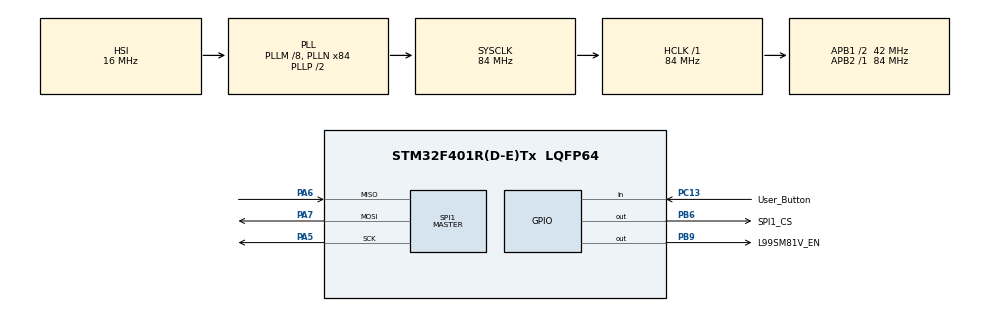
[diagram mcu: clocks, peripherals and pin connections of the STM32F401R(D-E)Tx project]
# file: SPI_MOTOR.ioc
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Mcu.Family=STM32F4
Mcu.Name=STM32F401R(D-E)Tx
Mcu.Package=LQFP64
NVIC.PriorityGroup=NVIC_PRIORITYGROUP_4
PA13.Mode=Serial_Wire
PA13.Signal=SYS_JTMS-SWDIO
PA14.Mode=Serial_Wire
PA14.Signal=SYS_JTCK-SWCLK
PA5.Mode=Full_Duplex_Master
PA5.Signal=SPI1_SCK
PA6.Mode=Full_Duplex_Master
PA6.Signal=SPI1_MISO
PA7.GPIO_PuPd=GPIO_NOPULL
PA7.Mode=Full_Duplex_Master
PA7.Signal=SPI1_MOSI
PB6.GPIO_Label=SPI1_CS
PB6.PinState=GPIO_PIN_SET
PB6.Signal=GPIO_Output
PB9.GPIO_Label=L99SM81V_EN
PB9.PinState=GPIO_PIN_SET
PB9.Signal=GPIO_Output
PC13-ANTI_TAMP.GPIO_Label=User_Button
PC13-ANTI_TAMP.Signal=GPIO_Input
ProjectManager.HeapSize=0x200
ProjectManager.StackSize=0x400
ProjectManager.TargetToolchain=STM32CubeIDE
RCC.48MHZClocksFreq_Value=42000000
RCC.AHBFreq_Value=84000000
RCC.APB1CLKDivider=RCC_HCLK_DIV2
RCC.APB1Freq_Value=42000000
RCC.APB1TimFreq_Value=84000000
RCC.APB2Freq_Value=84000000
RCC.APB2TimFreq_Value=84000000
RCC.CortexFreq_Value=84000000
RCC.HCLKFreq_Value=84000000
RCC.HSE_VALUE=25000000
RCC.HSI_VALUE=16000000
RCC.LSE_VALUE=32768
RCC.PLLM=8
RCC.PLLN=84
RCC.SYSCLKFreq_VALUE=84000000
RCC.SYSCLKSource=RCC_SYSCLKSOURCE_PLLCLK
RCC.VCOOutputFreq_Value=168000000
SPI1.BaudRatePrescaler=SPI_BAUDRATEPRESCALER_32
SPI1.Direction=SPI_DIRECTION_2LINES
SPI1.Mode=SPI_MODE_MASTER
SPI1.VirtualType=VM_MASTER
board=custom

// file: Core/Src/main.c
/* USER CODE BEGIN Header */
/**
  ******************************************************************************
  * @file           : main.c
  * @brief          : Main program body
  ******************************************************************************
  * @attention
  *
  * <h2><center>&copy; Copyright (c) 2022 STMicroelectronics.
  * All rights reserved.</center></h2>
  *
  * This software component is licensed by ST under BSD 3-Clause license,
  * the "License"; You may not use this file except in compliance with the
  * License. You may obtain a copy of the License at:
  *                        opensource.org/licenses/BSD-3-Clause
  *
  ******************************************************************************
  */
/* USER CODE END Header */
#include "main.h"

/* USER CODE BEGIN Includes */
#include "AEK_MOT_SM81M1_Driver.h"
#include "AEK_MOT_SM81M1_cfg.h"
#include "comm_commands.h"
/* USER CODE END Includes */

/* USER CODE BEGIN PTD */
uint8_t motor_ctrl = 1;
uint8_t User_Button_Status = 0;
uint8_t Button_Count = 0;
/* USER CODE END PTD */

SPI_HandleTypeDef hspi1;

void SystemClock_Config(void);
static void MX_GPIO_Init(void);
static void MX_SPI1_Init(void);
/* USER CODE BEGIN PFP */
void init_AEK_MOT_SM81M1(SPI_HandleTypeDef* hspi1);
void TurnLeft(SPI_HandleTypeDef* hspi1, int step, int time);
void TurnRight(SPI_HandleTypeDef* hspi1, int step, int time);
void AEK_MOT_SM81M1drv_Read_Device_Info(SPI_HandleTypeDef* hspi1,   unsigned char regAddress);
void AEK_MOT_SM81M1drv_WriteSPIRegisterMOV(SPI_HandleTypeDef* hspi1,
		unsigned char regAddress, STEP_MODE mode,
		long int pos, int dir);
void AEK_MOT_SM81M1drv_ReadMessage(SPI_HandleTypeDef* hspi1,   unsigned char regAddress);
void AEK_MOT_SM81M1drv_MotorStatus(SPI_HandleTypeDef* hspi1,   unsigned char regAddress);
/* USER CODE END PFP */

/* USER CODE BEGIN 0 */
void MOTOR_Direction_Right(unsigned char motor_ctrl)
{
	  motor_ctrl=1;
	  TurnRight(&hspi1, 50, 1);
}

void MOTOR_Direction_Left(unsigned char motor_ctrl)
{
	  motor_ctrl=0;
	  TurnLeft(&hspi1, 50, 1);
}
/* USER CODE END 0 */

int main(void)
{

  /* MCU Configuration--------------------------------------------------------*/

  /* Reset of all peripherals, Initializes the Flash interface and the Systick. */
  HAL_Init();

  /* Configure the system clock */
  SystemClock_Config();

  /* Initialize all configured peripherals */
  MX_GPIO_Init();
  MX_SPI1_Init();
  /* USER CODE BEGIN 2 */
  init_AEK_MOT_SM81M1(&hspi1);
  /* USER CODE END 2 */

  /* Infinite loop */
  while (1)
  {

    /* USER CODE BEGIN 3 */
	  if((HAL_GPIO_ReadPin(User_Button_GPIO_Port, User_Button_Pin) == 0) && (User_Button_Status == 0))
	  {
		  Button_Count++;
		  if(Button_Count > 0)
		  {
			  User_Button_Status = 1;
			  if(motor_ctrl == 1)
			  {
				  motor_ctrl = 2;
				  MOTOR_Direction_Left(motor_ctrl);
			  }

			  else if(motor_ctrl == 2)
			  {
				  motor_ctrl = 1;
				  MOTOR_Direction_Right(motor_ctrl);
			  }
		  }
	  }

	  else if(HAL_GPIO_ReadPin(User_Button_GPIO_Port, User_Button_Pin) == 1)
	  {
		  User_Button_Status = 0;
		  Button_Count = 0;
	  }
  }
  /* USER CODE END 3 */
}

void SystemClock_Config(void)
{
  RCC_OscInitTypeDef RCC_OscInitStruct = {0};
  RCC_ClkInitTypeDef RCC_ClkInitStruct = {0};

  /** Configure the main internal regulator output voltage
  */
  __HAL_RCC_PWR_CLK_ENABLE();
  __HAL_PWR_VOLTAGESCALING_CONFIG(PWR_REGULATOR_VOLTAGE_SCALE2);
  /** Initializes the RCC Oscillators according to the specified parameters
  * in the RCC_OscInitTypeDef structure.
  */
  RCC_OscInitStruct.OscillatorType = RCC_OSCILLATORTYPE_HSI;
  RCC_OscInitStruct.HSIState = RCC_HSI_ON;
  RCC_OscInitStruct.HSICalibrationValue = RCC_HSICALIBRATION_DEFAULT;
  RCC_OscInitStruct.PLL.PLLState = RCC_PLL_ON;
  RCC_OscInitStruct.PLL.PLLSource = RCC_PLLSOURCE_HSI;
  RCC_OscInitStruct.PLL.PLLM = 8;
  RCC_OscInitStruct.PLL.PLLN = 84;
  RCC_OscInitStruct.PLL.PLLP = RCC_PLLP_DIV2;
  RCC_OscInitStruct.PLL.PLLQ = 4;
  if (HAL_RCC_OscConfig(&RCC_OscInitStruct) != HAL_OK)
  {
    Error_Handler();
  }
  /** Initializes the CPU, AHB and APB buses clocks
  */
  RCC_ClkInitStruct.ClockType = RCC_CLOCKTYPE_HCLK|RCC_CLOCKTYPE_SYSCLK
                              |RCC_CLOCKTYPE_PCLK1|RCC_CLOCKTYPE_PCLK2;
  RCC_ClkInitStruct.SYSCLKSource = RCC_SYSCLKSOURCE_PLLCLK;
  RCC_ClkInitStruct.AHBCLKDivider = RCC_SYSCLK_DIV1;
  RCC_ClkInitStruct.APB1CLKDivider = RCC_HCLK_DIV2;
  RCC_ClkInitStruct.APB2CLKDivider = RCC_HCLK_DIV1;

  if (HAL_RCC_ClockConfig(&RCC_ClkInitStruct, FLASH_LATENCY_2) != HAL_OK)
  {
    Error_Handler();
  }
}

static void MX_SPI1_Init(void)
{

  /* SPI1 parameter configuration*/
  hspi1.Instance = SPI1;
  hspi1.Init.Mode = SPI_MODE_MASTER;
  hspi1.Init.Direction = SPI_DIRECTION_2LINES;
  hspi1.Init.DataSize = SPI_DATASIZE_8BIT;
  hspi1.Init.CLKPolarity = SPI_POLARITY_LOW;
  hspi1.Init.CLKPhase = SPI_PHASE_1EDGE;
  hspi1.Init.NSS = SPI_NSS_SOFT;
  hspi1.Init.BaudRatePrescaler = SPI_BAUDRATEPRESCALER_32;
  hspi1.Init.FirstBit = SPI_FIRSTBIT_MSB;
  hspi1.Init.TIMode = SPI_TIMODE_DISABLE;
  hspi1.Init.CRCCalculation = SPI_CRCCALCULATION_DISABLE;
  hspi1.Init.CRCPolynomial = 10;
  if (HAL_SPI_Init(&hspi1) != HAL_OK)
  {
    Error_Handler();
  }

}

static void MX_GPIO_Init(void)
{
  GPIO_InitTypeDef GPIO_InitStruct = {0};

  /* GPIO Ports Clock Enable */
  __HAL_RCC_GPIOC_CLK_ENABLE();
  __HAL_RCC_GPIOA_CLK_ENABLE();
  __HAL_RCC_GPIOB_CLK_ENABLE();

  /*Configure GPIO pin Output Level */
  HAL_GPIO_WritePin(GPIOB, SPI1_CS_Pin|L99SM81V_EN_Pin, GPIO_PIN_SET);

  /*Configure GPIO pin : User_Button_Pin */
  GPIO_InitStruct.Pin = User_Button_Pin;
  GPIO_InitStruct.Mode = GPIO_MODE_INPUT;
  GPIO_InitStruct.Pull = GPIO_NOPULL;
  HAL_GPIO_Init(User_Button_GPIO_Port, &GPIO_InitStruct);

  /*Configure GPIO pins : SPI1_CS_Pin L99SM81V_EN_Pin */
  GPIO_InitStruct.Pin = SPI1_CS_Pin|L99SM81V_EN_Pin;
  GPIO_InitStruct.Mode = GPIO_MODE_OUTPUT_PP;
  GPIO_InitStruct.Pull = GPIO_NOPULL;
  GPIO_InitStruct.Speed = GPIO_SPEED_FREQ_LOW;
  HAL_GPIO_Init(GPIOB, &GPIO_InitStruct);

}

void Error_Handler(void)
{
  __disable_irq();
  while (1)
  {
  }
}

/************************ (C) COPYRIGHT STMicroelectronics *****END OF FILE****/
